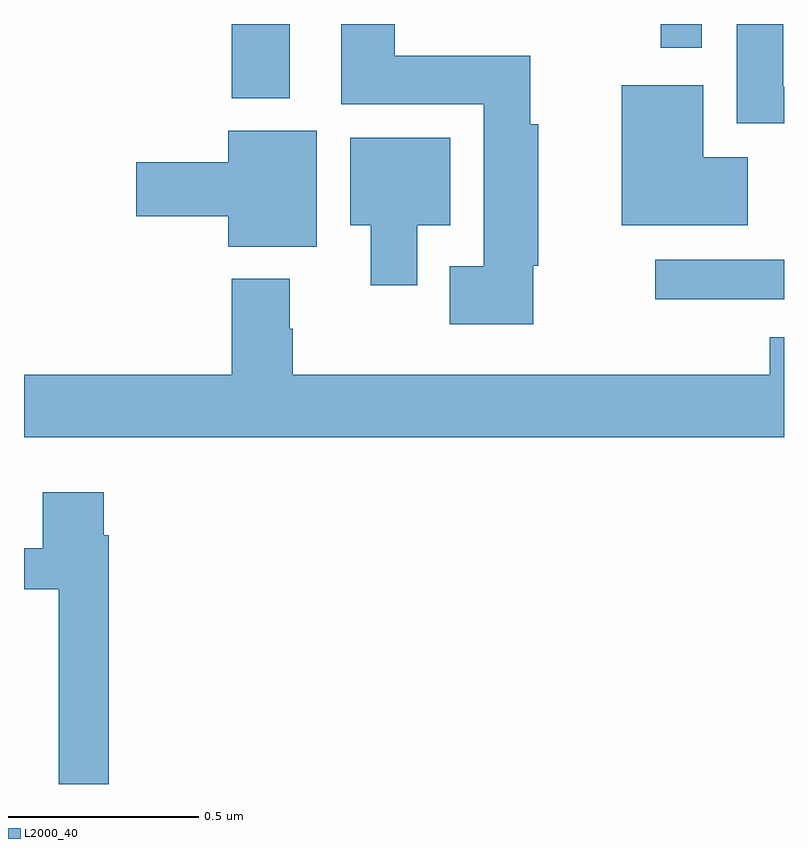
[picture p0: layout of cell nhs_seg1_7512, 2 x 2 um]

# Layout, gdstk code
import gdstk
lib = gdstk.Library(unit=1e-6, precision=1e-09)
def R(c, l, rs):  # rectangles x0, y0, x1, y1
    for r in rs: c.add(gdstk.rectangle(r[:2], r[2:], *l))
def P(c, l, *ps):  # polygons
    for p in ps: c.add(gdstk.Polygon(p, *l))
L2000_40 = (2000, 40)

nhs_seg1_7512 = lib.new_cell('nhs_seg1_7512')
R(nhs_seg1_7512, L2000_40, [(206.661,505.475,207,505.579), (205.547,506.003,205.699,506.199), (206.676,506.136,206.784,506.199)])
P(nhs_seg1_7512, L2000_40, [(206.34,505.563),(206.353,505.563),(206.353,505.935),(206.332,505.935),(206.332,506.116),(205.975,506.116),(205.975,506.199),(205.835,506.199),(205.835,505.988),(206.21,505.988),(206.21,505.561),(206.12,505.561),(206.12,505.409),(206.34,505.409)],
  [(207,506.034),(206.998,506.034),(206.998,506.199),(206.876,506.199),(206.876,505.938),(207,505.938)],
  [(206.905,505.849),(206.788,505.849),(206.788,506.038),(206.573,506.038),(206.573,505.67),(206.905,505.67)],
  [(205.771,505.918),(205.538,505.918),(205.538,505.835),(205.296,505.835),(205.296,505.693),(205.538,505.693),(205.538,505.613),(205.771,505.613)],
  [(206.035,505.67),(206.122,505.67),(206.122,505.9),(205.859,505.9),(205.859,505.67),(205.913,505.67),(205.913,505.512),(206.035,505.512)],
  [(207,505.375),(206.963,505.375),(206.963,505.276),(205.707,505.276),(205.707,505.397),(205.699,505.397),(205.699,505.528),(205.547,505.528),(205.547,505.276),(205,505.276),(205,505.112),(207,505.112)],
  [(205.223,504.854),(205.21,504.854),(205.21,504.967),(205.049,504.967),(205.049,504.82),(205,504.82),(205,504.711),(205.091,504.711),(205.091,504.199),(205.223,504.199)])

lib.write_gds('nhs_seg1_7512.gds')
